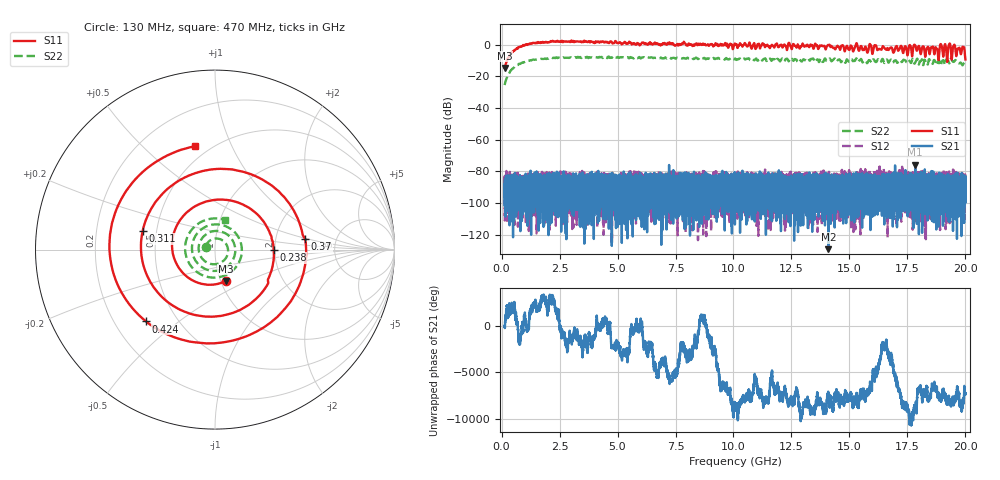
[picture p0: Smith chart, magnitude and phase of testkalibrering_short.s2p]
!Created with skrf (http://scikit-rf.org).
# GHz S RI R 50.0
!freq ReS11 ImS11 ReS21 ImS21 ReS12 ImS12 ReS22 ImS22
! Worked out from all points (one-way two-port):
!   20013 points, 130 MHz to 20 GHz, reference 50 ohm
!   highest |S21| = -75.76 dB at 17.84 GHz (marker M1); lowest = -129.2 dB at 14.09 GHz (marker M2)
!   lowest |S11| = -14.7 dB at 130 MHz (marker M3), VSWR 1.45, Z = 52.7 - j19.1 ohm
!   |S11| at or under -10 dB: start of sweep to 229.5 MHz; 19.20709 GHz to 19.2211 GHz (14.01 MHz wide, 0.0729 % of centre)
!   |S22| runs from -25.5 to -7.4 dB; largest |S21 - S12| = 0.00019
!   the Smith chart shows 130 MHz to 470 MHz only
!   S11 on the Smith chart (normalised r, x): 130 MHz: 1.05, -0.38; 238 MHz: 1.97, -0.00; 311 MHz: 0.42, +0.10; 370 MHz: 2.97, +0.46; 424 MHz: 0.33, -0.39; 470 MHz: 0.42, +0.73
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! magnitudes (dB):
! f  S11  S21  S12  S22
! 130 MHz  -14.7  -85.8  -95.8  -25.5
! 238 MHz  -9.7  -83.9  -90.2  -20.5
! 311 MHz  -7.6  -90.3  -92.9  -18.4
! 370 MHz  -5.9  -87.5  -91.8  -16.7
! 424 MHz  -5.1  -86.2  -88.2  -15.9
! 470 MHz  -4.6  -96.6  -91.2  -15.1
! 1.34 GHz  1.1  -96.5  -86.4  -9.5
! 3.442 GHz  1.6  -85.3  -97.3  -8.3
! 6.754 GHz  0.5  -94.0  -86.8  -8.3
! 10.06 GHz  0.8  -94.2  -100.8  -8.7
! 13.38 GHz  -0.2  -87.6  -91.8  -8.9
! 14.09 GHz  -0.1  -129.2  -97.8  -9.9
! 16.69 GHz  -3.2  -87.0  -89.0  -11.4
! 17.84 GHz  -0.4  -75.8  -84.5  -11.1
! 18.77 GHz  -2.6  -97.5  -89.7  -12.9
! 19.01 GHz  -3.8  -94.3  -88.2  -10.0
! 19.13 GHz  0.3  -87.6  -88.4  -11.8
! 19.42 GHz  -8.7  -101.3  -92.5  -9.7
! 19.51 GHz  -0.1  -87.9  -84.3  -10.7
! 19.64 GHz  -3.6  -86.6  -87.1  -11.2
! 19.9 GHz  -1.4  -84.8  -89.0  -12.6
! 20 GHz  -9.3  -89.2  -83.6  -10.5
